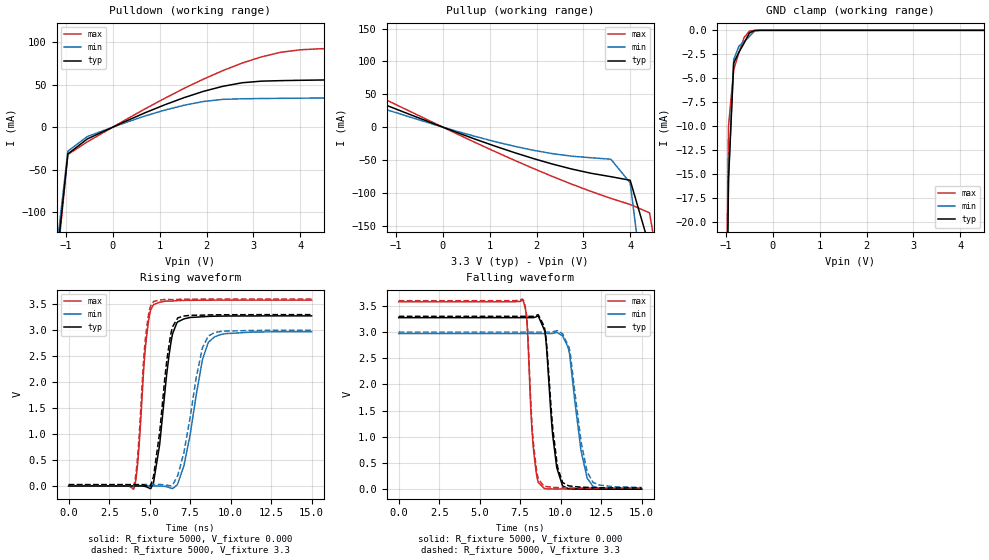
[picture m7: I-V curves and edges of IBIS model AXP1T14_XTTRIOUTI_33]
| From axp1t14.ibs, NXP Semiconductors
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|   Model AXP1T14_XTTRIOUTI_33
[Model]   AXP1T14_XTTRIOUTI_33
Model_type   Output
Polarity   Inverting
Vmeas =  1.5V
Cref  =  5e-12
Rref  =  10e+3
Vref  =  0V
C_comp   1.9410pF   1.7480pF   2.1270pF
[Model Spec]
| Note: The input and output voltage ratings may be exceeded if the input and
|   output current ratings are observed (please refer to the data sheet)
|   Subparameter   typ   min   max
| Timing Thresholds
Vmeas   1.65   1.5   1.8
|Ambient temperature:   25   85   -40
[Temperature Range]   30   90   -35
[Voltage Range]   3.3   3.0   3.6
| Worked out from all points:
|   slope of the pulldown table from 0 to 0.495 V, typ, clamps not added: 40.4 ohm
|   slope of the pullup table from 0 to 0.495 V, typ, clamps not added: 37.5 ohm
|   GND clamp passes 1 mA (typ) near -0.58 V on its own axis
|   rising waveform, R_fixture 5000, V_fixture 0.000: 20-80 % time 701ps typ, 980ps min, 472ps max; typ from 0 V to 3.28 V
|   rising waveform, R_fixture 5000, V_fixture 3.3: 20-80 % time 705ps typ, 991ps min, 458ps max; typ from 0.024 V to 3.3 V
|   falling waveform, R_fixture 5000, V_fixture 0.000: 20-80 % time 511ps typ, 734ps min, 361ps max; typ from 3.28 V to 0 V
|   falling waveform, R_fixture 5000, V_fixture 3.3: 20-80 % time 537ps typ, 778ps min, 385ps max; typ from 3.3 V to 0.024 V
|Process Range   nominal   slow   fast
[GND_clamp]
|   voltage   I(typ)   I(min)   I(max)
-5.5V     -2.957A    -2.756A    -3.17A
-1.056V   -61.76mA   -55.78mA   -55.53mA
-944.4mV  -15.58mA   -15.37mA   -10.03mA
-833.3mV  -3.412mA   -3.047mA   -4.112mA
-722.2mV  -2.287mA   -1.662mA   -2.321mA
-611.1mV  -1.33mA    -1.186mA   -742.4uA
-500mV    -281.9uA   -644uA     -90.52uA
-388.9mV  -19.05uA   -70.75uA   -2.215uA
-277.8mV  -361.9nA   -2.29uA    -18.15nA
11V       0A         0A         0A
[Pulldown]
|   voltage   I(typ)   I(min)   I(max)
-5.5V     -2.962A    -2.757A    -3.174A
-1.371V   -248mA     -226mA     -259mA
-958mV    -31.4mA    -28.2mA    -32.1mA
-545mV    -13.9mA    -11.1mA    -17.3mA
1.52V     34.6mA     25.7mA     45.5mA
2.345V    47.9mA     32.6mA     66.3mA
3.171V    54mA       33.6mA     82.5mA
3.997V    55mA       34mA       90.8mA
7.713V    60.7mA     39mA       97.8mA
8.539V    65.4mA     42.7mA     102mA
10.19V    80.2mA     53.6mA     120mA
11V       89.7mA     60.3mA     132mA
[Pullup]
|   voltage   I(typ)   I(min)   I(max)
-5.5V     147.6mA    118.2mA    184.7mA
-4.674V   126.5mA    101.3mA    158mA
-4.261V   115.7mA    92.7mA     144.4mA
-132.1mV  3.6mA      2.836mA    4.534mA
1.107V    -28.72mA   -21.92mA   -36.96mA
2.345V    -56.3mA    -40.4mA    -75.23mA
3.171V    -70.34mA   -46.65mA   -98.08mA
3.584V    -75.38mA   -48.78mA   -108.4mA
3.997V    -80.84mA   -84.8mA    -117.7mA
4.41V     -181.9mA   -317.6mA   -130.4mA
4.823V    -453.2mA   -579mA     -306.1mA
11V       -4.827A    -4.668A    -5.013A
[Ramp]
| variable   typ   min   max
dV/dt_r  2.0140E+00/7.0000E-10  1.8300E+00/9.8800E-10  2.2030E+00/4.8640E-10
dV/dt_f  2.0140E+00/5.1880E-10  1.8300E+00/7.2710E-10  2.2030E+00/3.7710E-10
R_load = 5000
[Rising Waveform]
R_fixture   = 5000
V_fixture   = 0.000
V_fixture_min = 0.000
V_fixture_max = 0.000
| time   V(typ)   V(min)   V(max)
0s        8.12nV     12.54nV    6.572nV
4.02ns    -3.738uV   130.7nV    -54.03mV
4.28ns    160.7uV    -902.5nV   504.6mV
4.8ns     -16.83mV   -7.323uV   2.849V
5.24ns    65.33mV    155.8uV    3.494V
5.62ns    800.7mV    410.8uV    3.538V
6.32ns    2.775V     -42.32mV   3.56V
6.74ns    3.162V     46.54mV    3.571V
8.62ns    3.266V     2.766V     3.578V
15ns      3.276V     2.972V     3.579V
[Rising Waveform]
R_fixture   = 5000
V_fixture   = 3.3
V_fixture_min = 3.0
V_fixture_max = 3.6
| time   V(typ)   V(min)   V(max)
0s        23.84mV    27.67mV    20.53mV
4ns       23.84mV    27.67mV    -14.52mV
4.26ns    23.99mV    27.67mV    582.1mV
4.74ns    13.43mV    27.67mV    2.839V
5.24ns    186.5mV    27.82mV    3.552V
6.26ns    2.843V     3.995mV    3.591V
6.74ns    3.238V     204.5mV    3.594V
8.26ns    3.29V      2.661V     3.599V
8.62ns    3.294V     2.888V     3.599V
15ns      3.3V       3V         3.6V
[Falling Waveform]
R_fixture   = 5000
V_fixture   = 0.000
V_fixture_min = 0.000
V_fixture_max = 0.000
| time   V(typ)   V(min)   V(max)
0s        3.276V     2.972V     3.579V
7.68ns    3.276V     2.972V     3.595V
7.9ns     3.276V     2.972V     3.277V
8.26ns    3.276V     2.972V     999.2mV
8.62ns    3.306V     2.972V     130.1mV
9.04ns    2.972V     2.972V     8.913mV
9.52ns    1.004V     2.977V     3.442mV
10.12ns   61.51mV    2.931V     4.833mV
11.64ns   1.809mV    209.5mV    139.3uV
15ns      19.97uV    1.577mV    299.4nV
[Falling Waveform]
R_fixture   = 5000
V_fixture   = 3.3
V_fixture_min = 3.0
V_fixture_max = 3.6
| time   V(typ)   V(min)   V(max)
0s        3.3V       3V         3.6V
7.66ns    3.3V       3V         3.626V
7.92ns    3.3V       3V         3.247V
8.24ns    3.3V       3V         1.206V
8.56ns    3.327V     3V         275.5mV
9.06ns    2.985V     3V         52.15mV
9.82ns    413.2mV    3.029V     30.11mV
10.54ns   61.61mV    2.674V     22.53mV
11.64ns   34.84mV    326.9mV    20.72mV
15ns      23.88mV    30.74mV    20.53mV
